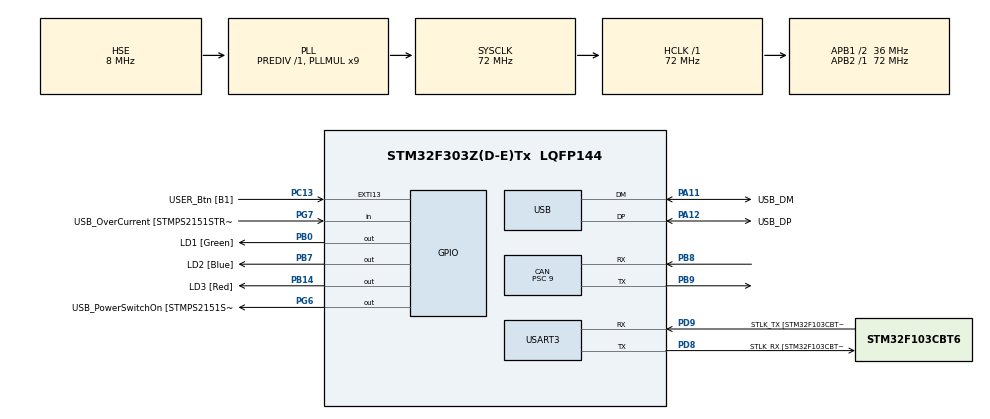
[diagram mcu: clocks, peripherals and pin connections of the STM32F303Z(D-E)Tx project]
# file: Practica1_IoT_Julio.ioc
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CAN.BS1=CAN_BS1_9TQ
CAN.BS2=CAN_BS2_6TQ
CAN.CalculateBaudRate=250000
CAN.CalculateTimeBit=4000
CAN.CalculateTimeQuantum=250.0
CAN.Mode=CAN_MODE_LOOPBACK
CAN.Prescaler=9
CAN.SJW=CAN_SJW_1TQ
Mcu.Family=STM32F3
Mcu.Name=STM32F303Z(D-E)Tx
Mcu.Package=LQFP144
NVIC.PriorityGroup=NVIC_PRIORITYGROUP_4
PA11.GPIO_Label=USB_DM
PA11.Mode=Device
PA11.Signal=USB_DM
PA12.GPIO_Label=USB_DP
PA12.Mode=Device
PA12.Signal=USB_DP
PA13.GPIO_Label=TMS
PA13.Mode=Serial_Wire
PA13.Signal=SYS_JTMS-SWDIO
PA14.GPIO_Label=TCK
PA14.Mode=Serial_Wire
PA14.Signal=SYS_JTCK-SWCLK
PB0.GPIO_Label=LD1 [Green]
PB0.Signal=GPIO_Output
PB14.GPIO_Label=LD3 [Red]
PB14.Signal=GPIO_Output
PB3.GPIO_Label=SWO
PB3.Signal=SYS_JTDO-TRACESWO
PB7.GPIO_Label=LD2 [Blue]
PB7.Signal=GPIO_Output
PB8.Mode=CAN_Activate
PB8.Signal=CAN_RX
PB9.Mode=CAN_Activate
PB9.Signal=CAN_TX
PC13.GPIO_Label=USER_Btn [B1]
PC13.Signal=GPXTI13
PC14-OSC32_IN.Mode=LSE-External-Oscillator
PC14-OSC32_IN.Signal=RCC_OSC32_IN
PC15-OSC32_OUT.Mode=LSE-External-Oscillator
PC15-OSC32_OUT.Signal=RCC_OSC32_OUT
PD8.GPIO_Label=STLK_RX [STM32F103CBT6_PA3]
PD8.Mode=Asynchronous
PD8.Signal=USART3_TX
PD9.GPIO_Label=STLK_TX [STM32F103CBT6_PA2]
PD9.Mode=Asynchronous
PD9.Signal=USART3_RX
PF0-OSC_IN.GPIO_Label=MCO [STM32F103CBT6_PA8]
PF0-OSC_IN.Mode=HSE-External-Clock-Source
PF0-OSC_IN.Signal=RCC_OSC_IN
PG6.GPIO_Label=USB_PowerSwitchOn [STMPS2151STR_EN]
PG6.Signal=GPIO_Output
PG7.GPIO_Label=USB_OverCurrent [STMPS2151STR_FAULT]
PG7.Signal=GPIO_Input
ProjectManager.HeapSize=0x200
ProjectManager.StackSize=0x400
ProjectManager.TargetToolchain=STM32CubeIDE
RCC.AHBFreq_Value=72000000
RCC.APB1CLKDivider=RCC_HCLK_DIV2
RCC.APB1Freq_Value=36000000
RCC.APB1TimFreq_Value=72000000
RCC.APB2Freq_Value=72000000
RCC.APB2TimFreq_Value=72000000
RCC.CortexFreq_Value=72000000
RCC.HCLKFreq_Value=72000000
RCC.HSE_VALUE=8000000
RCC.HSI_VALUE=8000000
RCC.PLLMUL=RCC_PLL_MUL9
RCC.PRESCALERUSB=RCC_USBCLKSOURCE_PLL_DIV1_5
RCC.SYSCLKFreq_VALUE=72000000
RCC.SYSCLKSourceVirtual=RCC_SYSCLKSOURCE_PLLCLK
RCC.USBFreq_Value=48000000
USART3.VirtualMode-Asynchronous=VM_ASYNC
VP_RTC_VS_RTC_Activate.Mode=RTC_Enabled
board=NUCLEO-F303ZE

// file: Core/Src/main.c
/* USER CODE BEGIN Header */
/**
******************************************************************************
* @file           : main.c
* @brief          : Main program body
******************************************************************************
* @attention
*
* Copyright (c) 2026 STMicroelectronics.
* All rights reserved.
*
* This software is licensed under terms that can be found in the LICENSE file
* in the root directory of this software component.
* If no LICENSE file comes with this software, it is provided AS-IS.
*
******************************************************************************
*/
/* USER CODE END Header */
#include "main.h"
#include "can.h"
#include "gpio.h"
#include "rtc.h"
#include "usart.h"
#include "usb.h"

/* USER CODE BEGIN PD */
#define NODE_ID 0x123
#define OFFER_MSG_ID 0x0134

#define INICIAL_DELAY_MS 50
#define MAX_DELAY_MS 3200
#define OFFER_PERIOD_MS 1000
#define LD3_ON_TIME_MS 100U
/* USER CODE END PD */

/* USER CODE BEGIN PV */
// 这里专门写全局变量
CAN_TxHeaderTypeDef TxHeader;                 // 发送帧头结构体
CAN_RxHeaderTypeDef RxHeader;                 // 接收帧头结构体
uint8_t TxData[8];                            // 发送数据缓冲区（最多8字节）
uint8_t RxData[8];                            // 接收数据缓冲区（最多8字节）
uint32_t TxMailbox;                           // 发送邮箱变量
static volatile uint16_t current_delay_ms = INICIAL_DELAY_MS; // 当前延时值（中断中修改）
static uint32_t last_offer_tick = 0U;
static volatile uint32_t ld_off_tick = 0U;    // LD3 熄灭时刻，0 表示不需要熄灭
/* USER CODE END PV */

void SystemClock_Config(void);
/* USER CODE BEGIN PFP */
// 这里专门写函数声明
HAL_StatusTypeDef CAN_Configurar_Filtrado(void);
// 发送数据帧的函数声明
HAL_StatusTypeDef CAN_TX_SendFrame(uint32_t stdId, uint8_t *pData, uint8_t len);
/* USER CODE END PFP */

/* USER CODE BEGIN 0 */
// 这里专门写函数体
HAL_StatusTypeDef CAN_Configurar_Filtrado(void) {
  CAN_FilterTypeDef sFilterConfig = {0};

  sFilterConfig.FilterMode = CAN_FILTERMODE_IDMASK;
  sFilterConfig.FilterScale = CAN_FILTERSCALE_32BIT;
  sFilterConfig.FilterIdLow = 0x0000;
  sFilterConfig.FilterMaskIdLow = 0x0000;
  sFilterConfig.FilterFIFOAssignment = CAN_RX_FIFO0;
  sFilterConfig.FilterActivation = ENABLE;
  sFilterConfig.SlaveStartFilterBank = 14;

  sFilterConfig.FilterBank = 0;
  sFilterConfig.FilterIdHigh = (OFFER_MSG_ID << 5);   // 只接收标准 ID 0x134
  sFilterConfig.FilterMaskIdHigh = (0x7FF << 5);      // 11 位 ID 全部比较

  if (HAL_CAN_ConfigFilter(&hcan, &sFilterConfig) != HAL_OK) {
    Error_Handler();
  }

  return HAL_OK;
}

HAL_StatusTypeDef CAN_TX_SendFrame(uint32_t stdId, uint8_t *pData,
                                   uint8_t len) {
  TxHeader.StdId = stdId;
  TxHeader.ExtId = 0;
  TxHeader.RTR = CAN_RTR_DATA;
  TxHeader.IDE = CAN_ID_STD;
  TxHeader.DLC = len;
  TxHeader.TransmitGlobalTime = DISABLE;

  return HAL_CAN_AddTxMessage(&hcan, &TxHeader, pData, &TxMailbox);
}

// HAL 库的弱函数，这里重写即可，无需手动注册
void HAL_CAN_RxFifo0MsgPendingCallback(CAN_HandleTypeDef *hcan) {
  // 自动从 FIFO0 提取收到的报文头和数据
  if (HAL_CAN_GetRxMessage(hcan, CAN_RX_FIFO0, &RxHeader, RxData) == HAL_OK) {
    if (RxHeader.StdId == OFFER_MSG_ID && RxHeader.RTR == CAN_RTR_REMOTE) {
      uint8_t resp_data[2];
      resp_data[0] = (uint8_t)(current_delay_ms & 0xFF);
      resp_data[1] = (uint8_t)((current_delay_ms >> 8) & 0xFF);

      CAN_TX_SendFrame(OFFER_MSG_ID, resp_data, 2);

      current_delay_ms *= 2;
      if (current_delay_ms > MAX_DELAY_MS) {
        current_delay_ms = INICIAL_DELAY_MS;
      }

      HAL_GPIO_WritePin(LD3_GPIO_Port, LD3_Pin, GPIO_PIN_SET);
      ld_off_tick = HAL_GetTick() + LD3_ON_TIME_MS;
      if (ld_off_tick == 0U) {
        ld_off_tick = 1U; // 避免与“无需熄灭”的 0 冲突
      }
    }
  }
}

/* USER CODE END 0 */

int main(void) {

  /* MCU
   * Configuration--------------------------------------------------------*/

  /* Reset of all peripherals, Initializes the Flash interface and the
   * Systick.
   */
  HAL_Init();

  /* Configure the system clock */
  SystemClock_Config();

  /* Initialize all configured peripherals */
  MX_GPIO_Init();
  MX_RTC_Init();
  MX_USART3_UART_Init();
  MX_USB_PCD_Init();
  MX_CAN_Init();

  /* USER CODE BEGIN 2 */
  CAN_Configurar_Filtrado();

  // 启用 NVIC 中与 USB 低优先级共享的 CAN RX0 中断通道。
  HAL_NVIC_SetPriority(USB_LP_CAN_RX0_IRQn, 0, 0);
  HAL_NVIC_EnableIRQ(USB_LP_CAN_RX0_IRQn);

  // 激活 CAN RX FIFO0 消息挂起中断通知
  // 当 FIFO0 收到新报文时，触发中断，调用 HAL_CAN_RxFifo0MsgPendingCallback()
  if (HAL_CAN_ActivateNotification(&hcan, CAN_IT_RX_FIFO0_MSG_PENDING) !=
      HAL_OK) {
    Error_Handler();
  }

  // 启动 CAN 硬件控制器
  if (HAL_CAN_Start(&hcan) != HAL_OK) {
    Error_Handler();
  }

  /* USER CODE END 2 */

  /* Infinite loop */
  while (1) {

    /* USER CODE BEGIN 3 */
    // 这里是业务逻辑
    uint32_t current_tick = HAL_GetTick();

    // 每 OFFER_PERIOD_MS 发送一次 offer 报文
    if (current_tick - last_offer_tick >= OFFER_PERIOD_MS) {
      last_offer_tick = current_tick;

      uint8_t offer_data[2];
      offer_data[0] = (uint8_t)((OFFER_MSG_ID >> 8) & 0xFF);
      offer_data[1] = (uint8_t)(OFFER_MSG_ID & 0xFF);

      CAN_TX_SendFrame(NODE_ID, offer_data, 2);
    }

    // 到时间后熄灭 LD3（有符号比较，可正确处理 tick 回绕）
    uint32_t off_tick = ld_off_tick;
    if (off_tick != 0U && (int32_t)(current_tick - off_tick) >= 0) {
      HAL_GPIO_WritePin(LD3_GPIO_Port, LD3_Pin, GPIO_PIN_RESET);
      ld_off_tick = 0U;
    }

    HAL_Delay(10);
  }
  /* USER CODE END 3 */
}

void SystemClock_Config(void) {
  RCC_OscInitTypeDef RCC_OscInitStruct = {0};
  RCC_ClkInitTypeDef RCC_ClkInitStruct = {0};
  RCC_PeriphCLKInitTypeDef PeriphClkInit = {0};

  /** Initializes the RCC Oscillators according to the specified parameters
   * in the RCC_OscInitTypeDef structure.
   */
  RCC_OscInitStruct.OscillatorType =
      RCC_OSCILLATORTYPE_LSI | RCC_OSCILLATORTYPE_HSE;
  RCC_OscInitStruct.HSEState = RCC_HSE_BYPASS;
  RCC_OscInitStruct.HSIState = RCC_HSI_ON;
  RCC_OscInitStruct.LSIState = RCC_LSI_ON;
  RCC_OscInitStruct.PLL.PLLState = RCC_PLL_ON;
  RCC_OscInitStruct.PLL.PLLSource = RCC_PLLSOURCE_HSE;
  RCC_OscInitStruct.PLL.PLLMUL = RCC_PLL_MUL9;
  RCC_OscInitStruct.PLL.PREDIV = RCC_PREDIV_DIV1;
  if (HAL_RCC_OscConfig(&RCC_OscInitStruct) != HAL_OK) {
    Error_Handler();
  }

  /** Initializes the CPU, AHB and APB buses clocks
   */
  RCC_ClkInitStruct.ClockType = RCC_CLOCKTYPE_HCLK | RCC_CLOCKTYPE_SYSCLK |
                                RCC_CLOCKTYPE_PCLK1 | RCC_CLOCKTYPE_PCLK2;
  RCC_ClkInitStruct.SYSCLKSource = RCC_SYSCLKSOURCE_PLLCLK;
  RCC_ClkInitStruct.AHBCLKDivider = RCC_SYSCLK_DIV1;
  RCC_ClkInitStruct.APB1CLKDivider = RCC_HCLK_DIV2;
  RCC_ClkInitStruct.APB2CLKDivider = RCC_HCLK_DIV1;

  if (HAL_RCC_ClockConfig(&RCC_ClkInitStruct, FLASH_LATENCY_2) != HAL_OK) {
    Error_Handler();
  }
  PeriphClkInit.PeriphClockSelection =
      RCC_PERIPHCLK_USB | RCC_PERIPHCLK_USART3 | RCC_PERIPHCLK_RTC;
  PeriphClkInit.Usart3ClockSelection = RCC_USART3CLKSOURCE_PCLK1;
  PeriphClkInit.RTCClockSelection = RCC_RTCCLKSOURCE_LSI;
  PeriphClkInit.USBClockSelection = RCC_USBCLKSOURCE_PLL_DIV1_5;
  if (HAL_RCCEx_PeriphCLKConfig(&PeriphClkInit) != HAL_OK) {
    Error_Handler();
  }
}

void Error_Handler(void) {
  /* USER CODE BEGIN Error_Handler_Debug */
  /* User can add his own implementation to report the HAL error return state
   */
  __disable_irq();
  while (1) {
  }
  /* USER CODE END Error_Handler_Debug */
}
#ifdef USE_FULL_ASSERT
/**
 * @brief  Reports the name of the source file and the source line number
 *         where the assert_param error has occurred.
 * @param  file: pointer to the source file name
 * @param  line: assert_param error line source number
 * @retval None
 */
void assert_failed(uint8_t *file, uint32_t line) {
  /* USER CODE BEGIN 6 */
  /* User can add his own implementation to report the file name and line
     number, ex: printf("Wrong parameters value: file %s on line %d\r\n",
     file, line) */
  /* USER CODE END 6 */
}
#endif /* USE_FULL_ASSERT */
